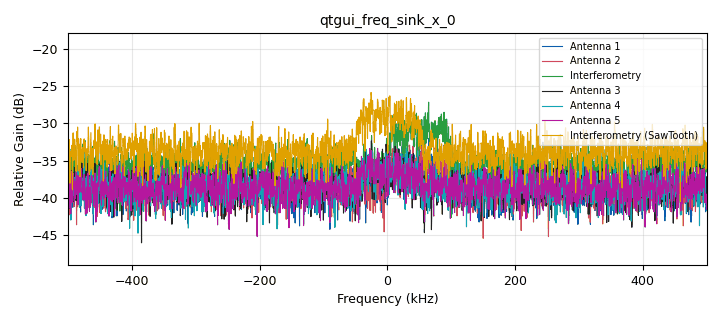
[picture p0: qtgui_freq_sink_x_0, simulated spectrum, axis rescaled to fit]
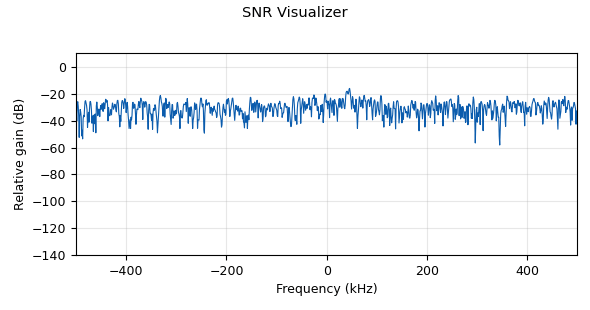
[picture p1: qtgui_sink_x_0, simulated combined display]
options:
  parameters:
    author: SETI Institute
    generate_options: qt_gui
    id: Interferometry
    output_language: python
    title: Interferometry
  states: {}

blocks:
- name: bandwidth
  id: variable_qtgui_entry
  parameters:
    label: Signal Bandwidth (kHz)
    type: real
    value: '100'
  states: {}
- name: delay_diff
  id: variable_qtgui_entry
  parameters:
    label: Delay difference (samples)
    type: int
    value: '0'
  states: {}
- name: delay_rate_diff
  id: variable_qtgui_entry
  parameters:
    label: Delay rate difference (ppm)
    type: real
    value: '0'
  states: {}
- name: freq_diff
  id: variable_qtgui_entry
  parameters:
    label: Frequency difference (Hz)
    type: real
    value: '0'
  states: {}
- name: frequency
  id: variable_qtgui_entry
  parameters:
    label: Signal frequency (kHz)
    type: real
    value: '50'
  states: {}
- name: phase_diff
  id: variable_qtgui_entry
  parameters:
    label: Phase difference (deg)
    type: real
    value: '0'
  states: {}
- name: samp_rate
  id: variable
  parameters:
    value: '1000000'
  states: {}
- name: snr
  id: variable_qtgui_entry
  parameters:
    label: Signal to Noise Ratio (SNR)
    type: real
    value: '0'
  states: {}
- name: analog_noise_source_x_1
  id: analog_noise_source_x
  parameters:
    amp: np.sqrt(10**(snr/10.0)/(samp_rate/(bandwidth*1e3)))
    noise_type: analog.GR_GAUSSIAN
    seed: '0'
    type: complex
  states: {}
- name: analog_noise_source_x_1_0
  id: analog_noise_source_x
  parameters:
    amp: np.sqrt(10**(snr/10.0)/(samp_rate/(bandwidth*1e3)))
    noise_type: analog.GR_GAUSSIAN
    seed: '0'
    type: complex
  states: {}
- name: analog_sig_source_x_0
  id: analog_sig_source_x
  parameters:
    amp: '1'
    freq: frequency*1e3
    offset: '0'
    phase: '0'
    samp_rate: samp_rate
    type: complex
    waveform: analog.GR_COS_WAVE
  states: {}
- name: analog_sig_source_x_0_0
  id: analog_sig_source_x
  parameters:
    amp: '1'
    freq: (frequency/5)*1e3
    offset: '0'
    phase: '0'
    samp_rate: samp_rate
    type: complex
    waveform: analog.GR_SAW_WAVE
  states: {}
- name: blocks_add_xx_1
  id: blocks_add_xx
  parameters:
    type: complex
  states: {}
- name: blocks_add_xx_1_0
  id: blocks_add_xx
  parameters:
    num_inputs: '3'
    type: complex
  states: {}
- name: blocks_add_xx_1_1
  id: blocks_add_xx
  parameters:
    type: complex
  states: {}
- name: blocks_delay_0
  id: blocks_delay
  parameters:
    delay: delay_diff
    type: complex
  states: {}
- name: blocks_multiply_xx_0
  id: blocks_multiply_xx
  parameters:
    type: complex
  states: {}
- name: blocks_multiply_xx_0_0
  id: blocks_multiply_xx
  parameters:
    type: complex
  states: {}
- name: blocks_throttle2_0
  id: blocks_throttle2
  parameters:
    samples_per_second: samp_rate
    type: complex
  states: {}
- name: blocks_throttle2_0_0
  id: blocks_throttle2
  parameters:
    samples_per_second: samp_rate
    type: complex
  states: {}
- name: channels_channel_model_0
  id: channels_channel_model
  parameters:
    epsilon: 1.0 + delay_rate_diff * 1e-6
    freq_offset: freq_diff / samp_rate
    noise_voltage: '1.0'
    seed: '2'
    taps: np.exp(1j * np.deg2rad(phase_diff))
  states: {}
- name: channels_channel_model_0_0
  id: channels_channel_model
  parameters:
    epsilon: '1.0'
    freq_offset: '0.0'
    noise_voltage: '1.0'
    seed: '1'
    taps: '1.0'
  states: {}
- name: channels_channel_model_0_0_0
  id: channels_channel_model
  parameters:
    epsilon: '1.0'
    freq_offset: '0.0'
    noise_voltage: '1.0'
    seed: '3'
    taps: '1.0'
  states: {}
- name: channels_channel_model_0_0_1
  id: channels_channel_model
  parameters:
    epsilon: '1.0'
    freq_offset: '0.0'
    noise_voltage: '1.0'
    seed: '4'
    taps: '1.0'
  states: {}
- name: channels_channel_model_0_0_2
  id: channels_channel_model
  parameters:
    epsilon: '1.0'
    freq_offset: '0.0'
    noise_voltage: '1.0'
    seed: '5'
    taps: '1.0'
  states: {}
- name: digital_mpsk_snr_est_cc_0
  id: digital_mpsk_snr_est_cc
  parameters:
    alpha: '0.001'
    tag_nsamples: '10000'
    type: '0'
  states: {}
- name: import_0
  id: import
  parameters:
    imports: import numpy as np
  states: {}
- name: note_0
  id: note
  parameters:
    note: Antenna 1
  states: {}
- name: note_0_0
  id: note
  parameters:
    note: Antenna 2
  states: {}
- name: note_0_1
  id: note
  parameters:
    note: Antenna 3
  states: {}
- name: note_0_2
  id: note
  parameters:
    note: Antenna 4
  states: {}
- name: note_0_3
  id: note
  parameters:
    note: Antenna 5
  states: {}
- name: note_1
  id: note
  parameters:
    note: Simulated Signal
  states: {}
- name: note_1_0
  id: note
  parameters:
    note: Simulated Signal
  states: {}
- name: pfb_arb_resampler_xxx_0
  id: pfb_arb_resampler_xxx
  parameters:
    atten: '100'
    nfilts: '32'
    rrate: samp_rate/(bandwidth*1e3)
    type: ccf
  states: {}
- name: pfb_arb_resampler_xxx_0_0
  id: pfb_arb_resampler_xxx
  parameters:
    atten: '100'
    nfilts: '32'
    rrate: samp_rate/(bandwidth*1e3)
    type: ccf
  states: {}
- name: qtgui_freq_sink_x_0
  id: qtgui_freq_sink_x
  parameters:
    average: '0.05'
    bw: samp_rate
    color4: '"magenta"'
    fc: '0'
    fftsize: '4096'
    label1: Antenna 1
    label2: Antenna 2
    label3: Interferometry
    label4: Antenna 3
    label5: Antenna 4
    label6: Antenna 5
    label7: Interferometry (SawTooth)
    nconnections: '7'
    norm_window: 'True'
    type: complex
    wintype: window.WIN_FLATTOP
    ymax: '-30'
    ymin: '-50'
  states: {}
- name: qtgui_sink_x_0
  id: qtgui_sink_x
  parameters:
    bw: samp_rate
    fc: '0'
    fftsize: '1024'
    name: SNR Visualizer
    plotconst: 'False'
    plotfreq: 'False'
    plottime: 'False'
    showrf: 'True'
    type: complex
  states: {}
- name: virtual_sink_0
  id: virtual_sink
  parameters:
    stream_id: astro_signal
  states: {}
- name: virtual_sink_0_0
  id: virtual_sink
  parameters:
    stream_id: astro_signal2
  states: {}
- name: virtual_source_0
  id: virtual_source
  parameters:
    stream_id: astro_signal
  states: {}
- name: virtual_source_0_0
  id: virtual_source
  parameters:
    stream_id: astro_signal
  states: {}
- name: virtual_source_0_1
  id: virtual_source
  parameters:
    stream_id: astro_signal2
  states: {}
- name: virtual_source_0_2
  id: virtual_source
  parameters:
    stream_id: astro_signal2
  states: {}
- name: virtual_source_0_3
  id: virtual_source
  parameters:
    stream_id: astro_signal2
  states: {}

connections:
- [analog_noise_source_x_1, '0', pfb_arb_resampler_xxx_0, '0']
- [analog_noise_source_x_1_0, '0', pfb_arb_resampler_xxx_0_0, '0']
- [analog_sig_source_x_0, '0', blocks_multiply_xx_0, '1']
- [analog_sig_source_x_0_0, '0', blocks_multiply_xx_0_0, '1']
- [blocks_add_xx_1, '0', blocks_add_xx_1_1, '0']
- [blocks_add_xx_1, '0', qtgui_freq_sink_x_0, '2']
- [blocks_add_xx_1_0, '0', blocks_add_xx_1_1, '1']
- [blocks_add_xx_1_0, '0', qtgui_freq_sink_x_0, '6']
- [blocks_add_xx_1_1, '0', digital_mpsk_snr_est_cc_0, '0']
- [blocks_delay_0, '0', blocks_add_xx_1, '1']
- [blocks_delay_0, '0', qtgui_freq_sink_x_0, '1']
- [blocks_multiply_xx_0, '0', blocks_throttle2_0, '0']
- [blocks_multiply_xx_0_0, '0', blocks_throttle2_0_0, '0']
- [blocks_throttle2_0, '0', virtual_sink_0, '0']
- [blocks_throttle2_0_0, '0', virtual_sink_0_0, '0']
- [channels_channel_model_0, '0', blocks_delay_0, '0']
- [channels_channel_model_0_0, '0', blocks_add_xx_1, '0']
- [channels_channel_model_0_0, '0', qtgui_freq_sink_x_0, '0']
- [channels_channel_model_0_0_0, '0', blocks_add_xx_1_0, '0']
- [channels_channel_model_0_0_0, '0', qtgui_freq_sink_x_0, '3']
- [channels_channel_model_0_0_1, '0', blocks_add_xx_1_0, '1']
- [channels_channel_model_0_0_1, '0', qtgui_freq_sink_x_0, '4']
- [channels_channel_model_0_0_2, '0', blocks_add_xx_1_0, '2']
- [channels_channel_model_0_0_2, '0', qtgui_freq_sink_x_0, '5']
- [digital_mpsk_snr_est_cc_0, '0', qtgui_sink_x_0, '0']
- [pfb_arb_resampler_xxx_0, '0', blocks_multiply_xx_0, '0']
- [pfb_arb_resampler_xxx_0_0, '0', blocks_multiply_xx_0_0, '0']
- [virtual_source_0, '0', channels_channel_model_0_0, '0']
- [virtual_source_0_0, '0', channels_channel_model_0, '0']
- [virtual_source_0_1, '0', channels_channel_model_0_0_0, '0']
- [virtual_source_0_2, '0', channels_channel_model_0_0_1, '0']
- [virtual_source_0_3, '0', channels_channel_model_0_0_2, '0']

metadata:
  file_format: 1
  grc_version: 3.10.12.0
